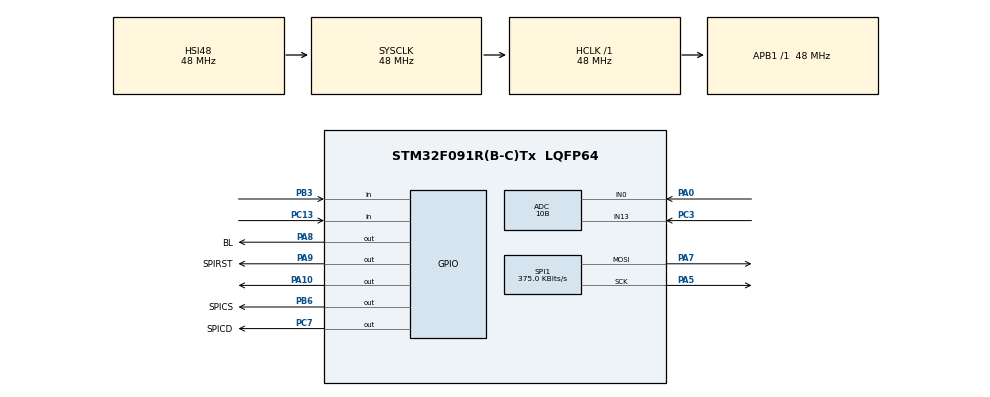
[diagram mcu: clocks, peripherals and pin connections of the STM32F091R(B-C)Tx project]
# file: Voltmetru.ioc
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ADC.ContinuousConvMode=DISABLE
ADC.Resolution=ADC_RESOLUTION_10B
Mcu.Family=STM32F0
Mcu.Name=STM32F091R(B-C)Tx
Mcu.Package=LQFP64
NVIC.TIM2_IRQn=true\:0\:0\:false\:false\:true\:true\:true\:true
NVIC.TIM7_IRQn=true\:0\:0\:false\:false\:true\:true\:true\:true
PA0.Mode=IN0
PA0.Signal=ADC_IN0
PA10.Signal=GPIO_Output
PA5.Mode=TX_Only_Simplex_Unidirect_Master
PA5.Signal=SPI1_SCK
PA7.Mode=TX_Only_Simplex_Unidirect_Master
PA7.Signal=SPI1_MOSI
PA8.GPIO_Label=BL
PA8.Signal=GPIO_Output
PA9.GPIO_Label=SPIRST
PA9.Signal=GPIO_Output
PB3.GPIO_PuPd=GPIO_PULLUP
PB3.Signal=GPIO_Input
PB6.GPIO_Label=SPICS
PB6.Signal=GPIO_Output
PC13.Signal=GPIO_Input
PC14OSC32_IN.Mode=LSE-External-Oscillator
PC14OSC32_IN.Signal=RCC_OSC32_IN
PC15OSC32_OUT.Mode=LSE-External-Oscillator
PC15OSC32_OUT.Signal=RCC_OSC32_OUT
PC3.Mode=IN13
PC3.Signal=ADC_IN13
PC7.GPIO_Label=SPICD
PC7.PinState=GPIO_PIN_SET
PC7.Signal=GPIO_Output
PF0-OSC_IN.Mode=HSE-External-Oscillator
PF0-OSC_IN.Signal=RCC_OSC_IN
PF1-OSC_OUT.Mode=HSE-External-Oscillator
PF1-OSC_OUT.Signal=RCC_OSC_OUT
ProjectManager.HeapSize=0x200
ProjectManager.StackSize=0x400
ProjectManager.TargetToolchain=STM32CubeIDE
RCC.AHBFreq_Value=48000000
RCC.APB1Freq_Value=48000000
RCC.APB1TimFreq_Value=48000000
RCC.FLatency-AdvancedSettings=FLASH_LATENCY_1
RCC.HCLKFreq_Value=48000000
RCC.PLLDivider=RCC_PREDIV_DIV2
RCC.PLLMUL=RCC_PLL_MUL12
RCC.PLLSourceVirtual=RCC_PLLSOURCE_HSE
RCC.PREFETCH_ENABLE-AdvancedSettings=1
RCC.SYSCLKFreq_VALUE=48000000
RCC.SYSCLKSource=RCC_SYSCLKSOURCE_HSI48
SPI1.BaudRatePrescaler=SPI_BAUDRATEPRESCALER_128
SPI1.CalculateBaudRate=375.0 KBits/s
SPI1.DataSize=SPI_DATASIZE_8BIT
SPI1.Direction=SPI_DIRECTION_2LINES
SPI1.Mode=SPI_MODE_MASTER
SPI1.VirtualType=VM_MASTER
TIM16.Period=10000
TIM16.Prescaler=4800-1
TIM2.AutoReloadPreload=TIM_AUTORELOAD_PRELOAD_ENABLE
TIM2.Period=4800
TIM2.Prescaler=1000
TIM7.AutoReloadPreload=TIM_AUTORELOAD_PRELOAD_ENABLE
TIM7.Period=4800
TIM7.Prescaler=1000
VP_ADC_Vbat_Input.Mode=IN-Vbat
VP_TIM16_VS_ClockSourceINT.Mode=Enable_Timer
VP_TIM2_VS_ClockSourceINT.Mode=Internal
VP_TIM7_VS_ClockSourceINT.Mode=Enable_Timer
board=NUCLEO-F091RC

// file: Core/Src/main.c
/* USER CODE BEGIN Header */
/**
 ******************************************************************************
 * @file           : main.c
 * @brief          : Main program body
 ******************************************************************************
 * @attention
 *
 * Copyright (c) 2022 STMicroelectronics.
 * All rights reserved.
 *
 * This software is licensed under terms that can be found in the LICENSE file
 * in the root directory of this software component.
 * If no LICENSE file comes with this software, it is provided AS-IS.
 *
 ******************************************************************************
 */
/* USER CODE END Header */
#include "main.h"

/* USER CODE BEGIN Includes */
#include "OS.h"
#include "lcd_st7565_pinconf.h"
#include "lcd_st7565.h"
#include "font.h"
#include <stdio.h>
#include <math.h>

/* USER CODE END Includes */

ADC_HandleTypeDef hadc;

SPI_HandleTypeDef hspi1;

TIM_HandleTypeDef htim2;
TIM_HandleTypeDef htim7;
TIM_HandleTypeDef htim16;

/* USER CODE BEGIN PV */

uint8_t state = 0;
uint8_t lastBtnState = 0;
uint8_t btnCounter = 0;
uint8_t lcdState = 0;
uint8_t indexRef = 0;
uint8_t timer2Counter = 0;
uint8_t timer7Counter = 0;
float minRef = 1.f;
float maxRef = 3.5f;

const voltage_show voltage_map [] = {
		{1, "V"},
		{1000, "mV"}
};
int8_t vMapVal = 0;

/* USER CODE END PV */

void SystemClock_Config(void);
static void MX_GPIO_Init(void);
static void MX_TIM16_Init(void);
static void MX_ADC_Init(void);
static void MX_SPI1_Init(void);
static void MX_TIM2_Init(void);
static void MX_TIM7_Init(void);
/* USER CODE BEGIN PFP */

void voltmeter(void);
void settings(void);

void drawAnalogVoltmeter(uint16_t adcVal);
void backlightHandler(double voltage);
void drawVoltage(double voltage);
void PA5toSPI(void);
void PA5toOutput(void);
uint8_t lcdConnected(void);
uint8_t pause(uint8_t btn);
void ADC_Joystick(uint32_t rank);
void ADC_Extern(uint32_t rank);
void draw_settings(void);
void modify_minRef(float val);
void modify_maxRef(float val);
void modify_Voltage(float val);
uint8_t reset_func(void);
uint16_t readADC(void);

/* USER CODE END PFP */

/* USER CODE BEGIN 0 */

const void (*modify_ref[])(float) = {modify_minRef, modify_maxRef, modify_Voltage};
void (*main_func)(void) = settings;

/* USER CODE END 0 */

int main(void)
{

  /* MCU Configuration--------------------------------------------------------*/

  /* Reset of all peripherals, Initializes the Flash interface and the Systick. */
  HAL_Init();

  /* Configure the system clock */
  SystemClock_Config();

  /* Initialize all configured peripherals */
  MX_GPIO_Init();
  MX_TIM16_Init();
  MX_ADC_Init();
  MX_SPI1_Init();
  MX_TIM2_Init();
  MX_TIM7_Init();
  /* USER CODE BEGIN 2 */

	//Start timer used for displaying a char on the bottom left corner each second
	HAL_TIM_Base_Start(&htim16);

	// initialize LCD
	st7565_init();
	st7565_backlight_enable();
	HAL_Delay(500);

	ADC_Joystick(ADC_RANK_CHANNEL_NUMBER);

  /* USER CODE END 2 */

  /* Infinite loop */
	while (1)
	{

    /* USER CODE BEGIN 3 */
		if(!lcdConnected())
		{
			continue;
		}

		main_func();
	}
  /* USER CODE END 3 */
}

void SystemClock_Config(void)
{
  RCC_OscInitTypeDef RCC_OscInitStruct = {0};
  RCC_ClkInitTypeDef RCC_ClkInitStruct = {0};

  /** Initializes the RCC Oscillators according to the specified parameters
  * in the RCC_OscInitTypeDef structure.
  */
  RCC_OscInitStruct.OscillatorType = RCC_OSCILLATORTYPE_HSI14|RCC_OSCILLATORTYPE_HSI48;
  RCC_OscInitStruct.HSI48State = RCC_HSI48_ON;
  RCC_OscInitStruct.HSI14State = RCC_HSI14_ON;
  RCC_OscInitStruct.HSI14CalibrationValue = 16;
  RCC_OscInitStruct.PLL.PLLState = RCC_PLL_NONE;
  if (HAL_RCC_OscConfig(&RCC_OscInitStruct) != HAL_OK)
  {
    Error_Handler();
  }
  /** Initializes the CPU, AHB and APB buses clocks
  */
  RCC_ClkInitStruct.ClockType = RCC_CLOCKTYPE_HCLK|RCC_CLOCKTYPE_SYSCLK
                              |RCC_CLOCKTYPE_PCLK1;
  RCC_ClkInitStruct.SYSCLKSource = RCC_SYSCLKSOURCE_HSI48;
  RCC_ClkInitStruct.AHBCLKDivider = RCC_SYSCLK_DIV1;
  RCC_ClkInitStruct.APB1CLKDivider = RCC_HCLK_DIV1;

  if (HAL_RCC_ClockConfig(&RCC_ClkInitStruct, FLASH_LATENCY_1) != HAL_OK)
  {
    Error_Handler();
  }
}

static void MX_ADC_Init(void)
{

  ADC_ChannelConfTypeDef sConfig = {0};

  /** Configure the global features of the ADC (Clock, Resolution, Data Alignment and number of conversion)
  */
  hadc.Instance = ADC1;
  hadc.Init.ClockPrescaler = ADC_CLOCK_ASYNC_DIV1;
  hadc.Init.Resolution = ADC_RESOLUTION_10B;
  hadc.Init.DataAlign = ADC_DATAALIGN_RIGHT;
  hadc.Init.ScanConvMode = ADC_SCAN_DIRECTION_FORWARD;
  hadc.Init.EOCSelection = ADC_EOC_SINGLE_CONV;
  hadc.Init.LowPowerAutoWait = DISABLE;
  hadc.Init.LowPowerAutoPowerOff = DISABLE;
  hadc.Init.ContinuousConvMode = DISABLE;
  hadc.Init.DiscontinuousConvMode = DISABLE;
  hadc.Init.ExternalTrigConv = ADC_SOFTWARE_START;
  hadc.Init.ExternalTrigConvEdge = ADC_EXTERNALTRIGCONVEDGE_NONE;
  hadc.Init.DMAContinuousRequests = DISABLE;
  hadc.Init.Overrun = ADC_OVR_DATA_PRESERVED;
  if (HAL_ADC_Init(&hadc) != HAL_OK)
  {
    Error_Handler();
  }
  /** Configure for the selected ADC regular channel to be converted.
  */
  sConfig.Channel = ADC_CHANNEL_0;
  sConfig.Rank = ADC_RANK_CHANNEL_NUMBER;
  sConfig.SamplingTime = ADC_SAMPLETIME_1CYCLE_5;
  if (HAL_ADC_ConfigChannel(&hadc, &sConfig) != HAL_OK)
  {
    Error_Handler();
  }
  /** Configure for the selected ADC regular channel to be converted.
  */
  sConfig.Channel = ADC_CHANNEL_13;
  if (HAL_ADC_ConfigChannel(&hadc, &sConfig) != HAL_OK)
  {
    Error_Handler();
  }
  /** Configure for the selected ADC regular channel to be converted.
  */
  sConfig.Channel = ADC_CHANNEL_VBAT;
  if (HAL_ADC_ConfigChannel(&hadc, &sConfig) != HAL_OK)
  {
    Error_Handler();
  }

}

static void MX_SPI1_Init(void)
{

  /* SPI1 parameter configuration*/
  hspi1.Instance = SPI1;
  hspi1.Init.Mode = SPI_MODE_MASTER;
  hspi1.Init.Direction = SPI_DIRECTION_2LINES;
  hspi1.Init.DataSize = SPI_DATASIZE_8BIT;
  hspi1.Init.CLKPolarity = SPI_POLARITY_LOW;
  hspi1.Init.CLKPhase = SPI_PHASE_1EDGE;
  hspi1.Init.NSS = SPI_NSS_SOFT;
  hspi1.Init.BaudRatePrescaler = SPI_BAUDRATEPRESCALER_128;
  hspi1.Init.FirstBit = SPI_FIRSTBIT_MSB;
  hspi1.Init.TIMode = SPI_TIMODE_DISABLE;
  hspi1.Init.CRCCalculation = SPI_CRCCALCULATION_DISABLE;
  hspi1.Init.CRCPolynomial = 7;
  hspi1.Init.CRCLength = SPI_CRC_LENGTH_DATASIZE;
  hspi1.Init.NSSPMode = SPI_NSS_PULSE_ENABLE;
  if (HAL_SPI_Init(&hspi1) != HAL_OK)
  {
    Error_Handler();
  }

}

static void MX_TIM2_Init(void)
{

  TIM_ClockConfigTypeDef sClockSourceConfig = {0};
  TIM_MasterConfigTypeDef sMasterConfig = {0};

  htim2.Instance = TIM2;
  htim2.Init.Prescaler = 1000;
  htim2.Init.CounterMode = TIM_COUNTERMODE_UP;
  htim2.Init.Period = 4800;
  htim2.Init.ClockDivision = TIM_CLOCKDIVISION_DIV1;
  htim2.Init.AutoReloadPreload = TIM_AUTORELOAD_PRELOAD_ENABLE;
  if (HAL_TIM_Base_Init(&htim2) != HAL_OK)
  {
    Error_Handler();
  }
  sClockSourceConfig.ClockSource = TIM_CLOCKSOURCE_INTERNAL;
  if (HAL_TIM_ConfigClockSource(&htim2, &sClockSourceConfig) != HAL_OK)
  {
    Error_Handler();
  }
  sMasterConfig.MasterOutputTrigger = TIM_TRGO_RESET;
  sMasterConfig.MasterSlaveMode = TIM_MASTERSLAVEMODE_DISABLE;
  if (HAL_TIMEx_MasterConfigSynchronization(&htim2, &sMasterConfig) != HAL_OK)
  {
    Error_Handler();
  }

}

static void MX_TIM7_Init(void)
{

  TIM_MasterConfigTypeDef sMasterConfig = {0};

  htim7.Instance = TIM7;
  htim7.Init.Prescaler = 1000;
  htim7.Init.CounterMode = TIM_COUNTERMODE_UP;
  htim7.Init.Period = 4800;
  htim7.Init.AutoReloadPreload = TIM_AUTORELOAD_PRELOAD_ENABLE;
  if (HAL_TIM_Base_Init(&htim7) != HAL_OK)
  {
    Error_Handler();
  }
  sMasterConfig.MasterOutputTrigger = TIM_TRGO_RESET;
  sMasterConfig.MasterSlaveMode = TIM_MASTERSLAVEMODE_DISABLE;
  if (HAL_TIMEx_MasterConfigSynchronization(&htim7, &sMasterConfig) != HAL_OK)
  {
    Error_Handler();
  }

}

static void MX_TIM16_Init(void)
{

  htim16.Instance = TIM16;
  htim16.Init.Prescaler = 4800-1;
  htim16.Init.CounterMode = TIM_COUNTERMODE_UP;
  htim16.Init.Period = 10000;
  htim16.Init.ClockDivision = TIM_CLOCKDIVISION_DIV1;
  htim16.Init.RepetitionCounter = 0;
  htim16.Init.AutoReloadPreload = TIM_AUTORELOAD_PRELOAD_DISABLE;
  if (HAL_TIM_Base_Init(&htim16) != HAL_OK)
  {
    Error_Handler();
  }

}

static void MX_GPIO_Init(void)
{
  GPIO_InitTypeDef GPIO_InitStruct = {0};

  /* GPIO Ports Clock Enable */
  __HAL_RCC_GPIOC_CLK_ENABLE();
  __HAL_RCC_GPIOF_CLK_ENABLE();
  __HAL_RCC_GPIOA_CLK_ENABLE();
  __HAL_RCC_GPIOB_CLK_ENABLE();

  /*Configure GPIO pin Output Level */
  HAL_GPIO_WritePin(SPICD_GPIO_Port, SPICD_Pin, GPIO_PIN_SET);

  /*Configure GPIO pin Output Level */
  HAL_GPIO_WritePin(GPIOA, BL_Pin|SPIRST_Pin|GPIO_PIN_10, GPIO_PIN_RESET);

  /*Configure GPIO pin Output Level */
  HAL_GPIO_WritePin(SPICS_GPIO_Port, SPICS_Pin, GPIO_PIN_RESET);

  /*Configure GPIO pin : PC13 */
  GPIO_InitStruct.Pin = GPIO_PIN_13;
  GPIO_InitStruct.Mode = GPIO_MODE_INPUT;
  GPIO_InitStruct.Pull = GPIO_NOPULL;
  HAL_GPIO_Init(GPIOC, &GPIO_InitStruct);

  /*Configure GPIO pin : SPICD_Pin */
  GPIO_InitStruct.Pin = SPICD_Pin;
  GPIO_InitStruct.Mode = GPIO_MODE_OUTPUT_PP;
  GPIO_InitStruct.Pull = GPIO_NOPULL;
  GPIO_InitStruct.Speed = GPIO_SPEED_FREQ_LOW;
  HAL_GPIO_Init(SPICD_GPIO_Port, &GPIO_InitStruct);

  /*Configure GPIO pins : BL_Pin SPIRST_Pin PA10 */
  GPIO_InitStruct.Pin = BL_Pin|SPIRST_Pin|GPIO_PIN_10;
  GPIO_InitStruct.Mode = GPIO_MODE_OUTPUT_PP;
  GPIO_InitStruct.Pull = GPIO_NOPULL;
  GPIO_InitStruct.Speed = GPIO_SPEED_FREQ_LOW;
  HAL_GPIO_Init(GPIOA, &GPIO_InitStruct);

  /*Configure GPIO pin : PB3 */
  GPIO_InitStruct.Pin = GPIO_PIN_3;
  GPIO_InitStruct.Mode = GPIO_MODE_INPUT;
  GPIO_InitStruct.Pull = GPIO_PULLUP;
  HAL_GPIO_Init(GPIOB, &GPIO_InitStruct);

  /*Configure GPIO pin : SPICS_Pin */
  GPIO_InitStruct.Pin = SPICS_Pin;
  GPIO_InitStruct.Mode = GPIO_MODE_OUTPUT_PP;
  GPIO_InitStruct.Pull = GPIO_NOPULL;
  GPIO_InitStruct.Speed = GPIO_SPEED_FREQ_LOW;
  HAL_GPIO_Init(SPICS_GPIO_Port, &GPIO_InitStruct);

}

/* USER CODE BEGIN 4 */

void drawAnalogVoltmeter(uint16_t adcVal)
{
	const int x = 64; //centru
	const int y = 63; //centru
	int x1, x2, x3, y1, y2, y3;
	int angle = 270; //270 stanga, 90 dreapta, 180 mijloc
	int i;

	angle -= 180.0f/1024 * adcVal;
	x1 = x + (40 * sin(angle * M_PI / 180)); //40 e raza
	y1 = y + (40 * cos(angle * M_PI / 180));
	st7565_drawline(buffer, x, y, x1, y1, 1);

	// liniile de arc de cerc
	for(i = 0;i <= 180; i += 10)
	{
		x2 = x + (45 * sin((270-i) * M_PI / 180));
		y2 = y + (45 * cos((270-i) * M_PI / 180));
		x3 = x2 + (-5 * sin((270-i) * M_PI / 180));
		y3 = y2 + (-5 * cos((270-i) * M_PI / 180));

		st7565_drawline(buffer, x2, y2, x3, y3, 1);
	}
}

void backlightHandler(double voltage)
{
	if(state != 1 && voltage < minRef)
	{
		HAL_TIM_Base_Stop(&htim2);
		st7565_backlight_disable();
		state = 1;
	}
	else if(state != 2 && voltage >= minRef && voltage < maxRef)
	{
		HAL_TIM_Base_Stop(&htim2);
		st7565_backlight_enable();
		state = 2;
	}
	else if(state != 3 && voltage >= maxRef)
	{
		HAL_TIM_Base_Start_IT(&htim2);
		state = 3;
	}
}

void drawVoltage(double voltage)
{
	char string [10] = {0};

	sprintf(string, "%.1f ", voltage * voltage_map[vMapVal].val);
	strcat(string, voltage_map[vMapVal].string);

	st7565_drawstring(buffer, 50, 0,(uint8_t*)string);
}

void HAL_TIM_PeriodElapsedCallback(TIM_HandleTypeDef* htim)
{
	if(htim == &htim2)
	{
		timer2Counter++ % 2 ? st7565_backlight_enable() : st7565_backlight_disable();
	}
	else if(htim == &htim7)
	{
		timer7Counter++;
	}
}

void PA5toSPI(void)
{
	GPIOA->MODER &= ~(3<<10);
	GPIOA->MODER |= 2 << 10; // pa5 alternate function

	GPIOA->AFR[0] &= ~(0b1111<<20); // alternate function af0 (spi)

	st7565_init();
	st7565_backlight_enable();
}
void PA5toOutput(void)
{
	st7565_backlight_disable();

	// turn lcd off
	HAL_GPIO_WritePin( SPICD_GPIO_Port, ST7565_A0_PIN, 0 );
	st7565_sendbyte( ST7565_CMD_DISPLAY_OFF );

	GPIOA->MODER &= ~(3<<10);
	GPIOA->MODER |= 1 << 10; // pa5 output

	GPIOA->BSRR |= 1<<5;
}

uint8_t lcdConnected(void)
{
	if(HAL_GPIO_ReadPin(GPIOB, GPIO_PIN_3) == 0)
	{
		if(lcdState != 0)
		{
			PA5toSPI();
			lcdState = 0;
		}
		return 1;
	}
	else
	{
		if(lcdState != 1)
		{
			PA5toOutput();
			HAL_TIM_Base_Stop_IT(&htim2);
			state = 0;
			lcdState = 1;
		}
		return 0;
	}
}

uint8_t pause(uint8_t btn)
{
	if(0 == btn && lastBtnState)
	{
		btnCounter++;
		if(reset_func())
			return 1;
	}

	lastBtnState = btn;

	return btnCounter % 2;
}

uint16_t readADC(void)
{
	HAL_ADC_Start(&hadc);
	HAL_ADC_PollForConversion(&hadc, HAL_MAX_DELAY);
	return HAL_ADC_GetValue(&hadc);
}

void voltmeter(void)
{
	if(pause(HAL_GPIO_ReadPin(GPIOC, GPIO_PIN_13)))
	{
		return;
	}

	uint16_t adcValue = readADC();
	double voltageV = adcValue * 0.003515625;	 // 3.6v / 2^10 = 0.003515625 v   | 0.0048828125 pentru un divizor de tensiune la 5v

	backlightHandler(voltageV);

	st7565_clear_buffer(buffer);
	drawVoltage(voltageV);
	drawAnalogVoltmeter(adcValue);
	st7565_write_buffer(buffer);

	HAL_Delay(500);
}

void ADC_Joystick(uint32_t rank)
{
	ADC_ChannelConfTypeDef sConfig = {0};

	sConfig.Channel = ADC_CHANNEL_0;
	sConfig.Rank = rank;
	sConfig.SamplingTime = ADC_SAMPLETIME_1CYCLE_5;
	if (HAL_ADC_ConfigChannel(&hadc, &sConfig) != HAL_OK)
	{
		Error_Handler();
	}
}
void ADC_Extern(uint32_t rank)
{
	ADC_ChannelConfTypeDef sConfig = {0};

	sConfig.Channel = ADC_CHANNEL_13;
	sConfig.Rank = rank;
	sConfig.SamplingTime = ADC_SAMPLETIME_1CYCLE_5;
	if (HAL_ADC_ConfigChannel(&hadc, &sConfig) != HAL_OK)
	{
		Error_Handler();
	}
}

void draw_settings(void)
{
	char string [10] = {0};
	st7565_drawstring(buffer, 0, 0,(uint8_t*)"Stand-by voltage:");
	sprintf(string, "%.1f", minRef);
	st7565_drawstring(buffer, 10, 1, (uint8_t*)string);

	st7565_drawstring(buffer, 0, 2, (uint8_t*)"Blink voltage:");
	sprintf(string, "%.1f", maxRef);
	st7565_drawstring(buffer, 10, 3, (uint8_t*)string);

	st7565_drawstring(buffer, 0, 4, (uint8_t*)"Voltage display:");
	st7565_drawstring(buffer, 10, 5, (uint8_t*)voltage_map[vMapVal].string);

	st7565_drawstring(buffer, 0, (indexRef%3)*2+1, (uint8_t*)">");
}

void modify_minRef(float val)
{
	val /= 5.f;
	if(maxRef - 0.3 <= minRef + val || minRef + val < 0.1)
	{
		return;
	}
	minRef += val;
}

void modify_maxRef(float val)
{
	val /= 5.f;
	if(minRef + 0.3 >= maxRef + val || maxRef + val >= 3.6)
	{
		return;
	}
	maxRef += val;
}

void modify_Voltage(float val)
{
	if(vMapVal + val < 0)
		vMapVal = 1;
	else
		vMapVal = (vMapVal + (int)val) % 2;
}

void settings(void)
{
	uint16_t joystick =  readADC();

	if(joystick < 50)// stanga 0
	{
		modify_ref[indexRef%3](-1.f);
	}
	else if(joystick < 350)// click joystick 300
	{
		ADC_Joystick(ADC_RANK_NONE);
		ADC_Extern(ADC_RANK_CHANNEL_NUMBER);
		main_func = voltmeter;
	}
	else if(joystick < 650)// jos 600
	{
		indexRef++;
	}
	else if(joystick < 950)// dreapta 930
	{
		modify_ref[indexRef%3](1.f);
	}

	st7565_clear_buffer(buffer);
	draw_settings();
	st7565_write_buffer(buffer);

	HAL_Delay(150);
}

uint8_t reset_func()
{
	if(!timer7Counter || timer7Counter > 10)
	{
		timer7Counter = 0;
		HAL_TIM_Base_Start_IT(&htim7);
		return 0;
	}
	else// if(timer7Counter <= 10)
	{
		btnCounter = 0;
		timer7Counter = 0;
		state = 0;
		HAL_TIM_Base_Stop_IT(&htim2);
		HAL_TIM_Base_Stop_IT(&htim7);
		st7565_backlight_enable();
		main_func = settings;
		ADC_Extern(ADC_RANK_NONE);
		ADC_Joystick(ADC_RANK_CHANNEL_NUMBER);
		return 1;
	}
}

/* USER CODE END 4 */

void Error_Handler(void)
{
	__disable_irq();
	while (1)
	{
	}
}
